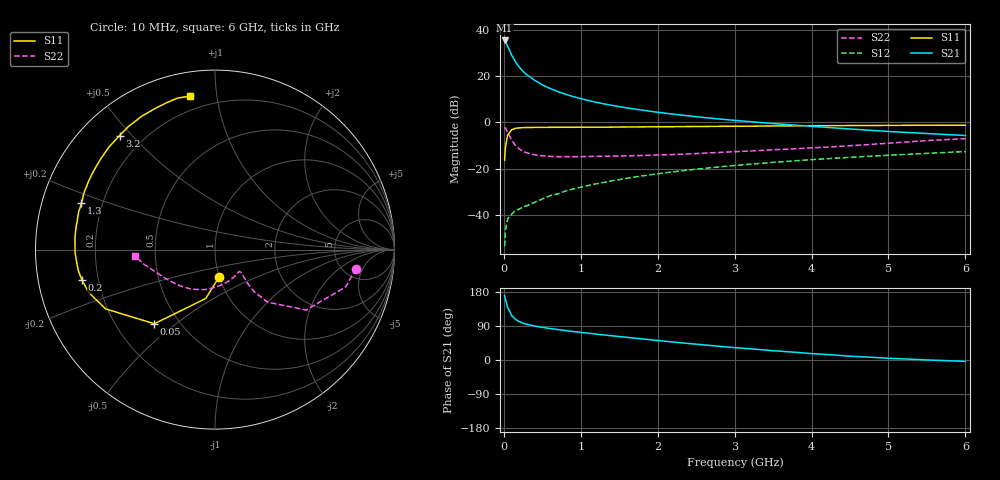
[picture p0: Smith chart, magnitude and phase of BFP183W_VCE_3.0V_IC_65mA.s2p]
! Infineon Technologies  Discrete & RF Semiconductors
! BFP183W
! VCE =  3.0 V,  IC =  65 mA
! Common Emitter S-Parameters:  Jan 2017
# GHz  S  MA  R  50
!  f  S11  S21  S12  S22
! GHz  MAG  ANG  MAG  ANG  MAG  ANG  MAG  ANG
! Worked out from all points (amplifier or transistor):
!   77 points, 10 MHz to 6 GHz, reference 50 ohm
!   highest |S21| = 35.5 dB at 10 MHz (marker M1)
!   |S21| within 3 dB of that: start of sweep to 56.9 MHz
!   unconditionally stable (mu >= 1): start of sweep to 14.6 MHz; 279.4 MHz to end of sweep
!   at 130 MHz: K = 0.65, MSG = 33.1 dB, |S12| = -38.8 dB
!   at 2.2 GHz: K = 1.26, MAG = 9.4 dB, |S12| = -21.4 dB
!   at 6 GHz: K = 1.03, MAG = 2.5 dB, |S12| = -12.6 dB
!   S11 on the Smith chart (normalised r, x): 10 MHz: 1.00, -0.31; 50 MHz: 0.36, -0.42; 200 MHz: 0.14, -0.11; 1.3 GHz: 0.12, +0.17; 3.2 GHz: 0.11, +0.46; 6 GHz: 0.12, +0.84
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0.01  0.153 -81.2  59.24 170.4  0.0021 79.7  0.7919 -7.7
0.02  0.2769 -100.7  56.57 160.1  0.0042 72.6  0.7576 -15.9
0.05  0.5339 -129.3  44.33 137.2  0.0082 53.5  0.6091 -33.6
0.1  0.6929 -151.5  28.74 117.0  0.0102 47.1  0.4152 -44.9
0.15  0.7433 -161.3  20.51 107.4  0.0123 43.5  0.3175 -47.1
0.2  0.7607 -167.2  15.74 101.4  0.0133 49.0  0.2672 -46.2
0.25  0.7704 -171.3  12.74 97.2  0.0149 48.9  0.2375 -44.6
0.3  0.7736 -174.4  10.69 94.2  0.0157 51.5  0.2183 -43.3
0.4  0.7795 -178.7  8.102 89.6  0.0187 55.9  0.1986 -41.6
0.5  0.7803 178.0  6.489 86.1  0.022 60.0  0.1897 -41.1
0.6  0.7829 175.4  5.424 83.1  0.026 62.3  0.1841 -41.7
0.7  0.783 173.1  4.651 80.4  0.0284 65.7  0.1813 -42.5
0.9  0.7834 168.6  3.616 75.2  0.0362 67.8  0.1809 -46.5
1.1  0.7883 164.6  2.974 70.7  0.0433 69.4  0.1831 -50.5
1.3  0.7879 160.9  2.519 66.2  0.0502 69.6  0.1856 -55.1
1.7  0.797 153.7  1.942 57.7  0.0656 69.6  0.191 -66.1
2.1  0.8056 146.7  1.582 49.5  0.0812 67.9  0.1992 -78.6
3.1  0.826 131.3  1.071 31.2  0.1205 62.1  0.2364 -109.6
3.2  0.8282 129.9  1.039 29.6  0.1245 61.4  0.2405 -112.5
4.1  0.8484 117.7  0.801 15.7  0.16 54.8  0.2863 -137.1
5.1  0.863 107.2  0.623 3.8  0.1985 47.0  0.3639 -161.5
6  0.8659 99.4  0.52 -3.7  0.2338 39.5  0.4455 -175.1
